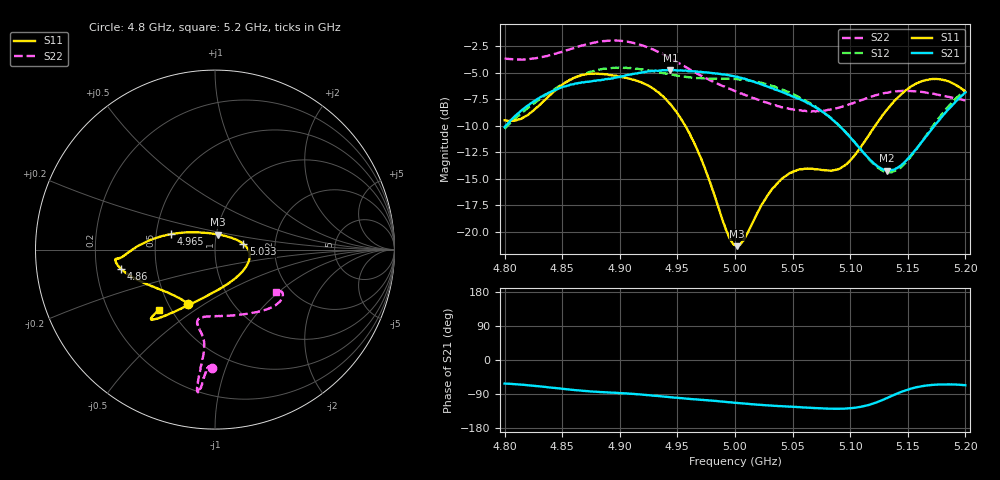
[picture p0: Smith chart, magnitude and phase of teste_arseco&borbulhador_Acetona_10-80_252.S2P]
! Network Analyzer HP8722D
! Hewlett-Packard
! Data name: Linha & Wilkinson
! Saver's name: Rodrigo Anjos
! Comments: Teste da utilização de aquisição
! continua pelo VNA HP8722D
! Time and date: 17/4/2025 16:27
!  Frequency  S11  S21  S12  S22
# HZ  S  MA R 50
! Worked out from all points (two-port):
!   401 points, 4.8 GHz to 5.2 GHz, reference 50 ohm
!   highest |S21| = -4.73 dB at 4.944 GHz (marker M1); lowest = -14.2 dB at 5.132 GHz (marker M2)
!   |S21| within 3 dB of the highest: 4.825 GHz to 5.061 GHz (236.5 MHz wide, 4.79 % of centre); 5.191428 GHz to end of sweep
!   lowest |S11| = -21.3 dB at 5.002 GHz (marker M3), VSWR 1.19, Z = 51 + j8.62 ohm
!   |S11| at or under -10 dB: 4.957 GHz to 5.122 GHz (164.6 MHz wide, 3.27 % of centre)
!   |S22| runs from -8.6 to -1.9 dB; largest |S21 - S12| = 0.87
!   S11 on the Smith chart (normalised r, x): 4.8 GHz: 0.63, -0.43; 4.86 GHz: 0.31, -0.09; 4.965 GHz: 0.60, +0.11; 5.033 GHz: 1.37, +0.09; 5.2 GHz: 0.43, -0.37
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4.8e9  0.3364 -116.4  0.3125 -62.1  0.3066 -176.4  0.6579 -91.3
4.819e9  0.3534 -136.7  0.3906 -66.3  0.379 -175.9  0.653 -92.9
4.86e9  0.5331 -168.2  0.4976 -79.0  0.5314 -179.2  0.7365 -95.4
4.867e9  0.5494 -170.8  0.5079 -81.1  0.5515 179.3  0.7573 -95.5
4.899e9  0.541 -174.9  0.5379 -87.3  0.5958 173.4  0.797 -97.0
4.934e9  0.4538 179.4  0.5764 -95.5  0.5678 170.2  0.7027 -97.2
4.944e9  0.4005 174.9  0.5803 -98.3  0.5526 170.4  0.6585 -97.0
4.965e9  0.2603 160.8  0.5726 -103.8  0.5317 172.2  0.5674 -96.2
4.993e9  0.1001 112.8  0.5507 -110.8  0.5285 174.3  0.4789 -98.8
5e9  0.0867 86.4  0.5412 -113.0  0.527 174.5  0.4613 -100.1
5.002e9  0.08566 78.3  0.5399 -113.4  0.5244 174.5  0.4583 -100.6
5.033e9  0.1614 11.7  0.4759 -120.5  0.4867 173.0  0.3979 -103.4
5.049e9  0.1902 -3.8  0.4372 -123.2  0.4499 172.6  0.3786 -98.9
5.067e9  0.1987 -23.0  0.3944 -126.5  0.3997 172.1  0.3705 -88.6
5.096e9  0.2077 -73.6  0.2951 -128.1  0.2956 174.7  0.3943 -66.1
5.119e9  0.3016 -108.9  0.2144 -115.8  0.2126 -171.0  0.4358 -50.6
5.132e9  0.3776 -119.7  0.1948 -100.4  0.1915 -153.7  0.4531 -44.1
5.134e9  0.3892 -120.9  0.195 -97.7  0.191 -150.6  0.4558 -43.3
5.146e9  0.4548 -126.5  0.2102 -82.3  0.2061 -133.0  0.4632 -38.8
5.167e9  0.5209 -131.7  0.2861 -67.0  0.2907 -113.7  0.4529 -33.5
5.184e9  0.5154 -133.1  0.3726 -64.4  0.3843 -108.7  0.4353 -32.3
5.2e9  0.4583 -133.0  0.455 -66.7  0.4667 -108.7  0.417 -34.9
